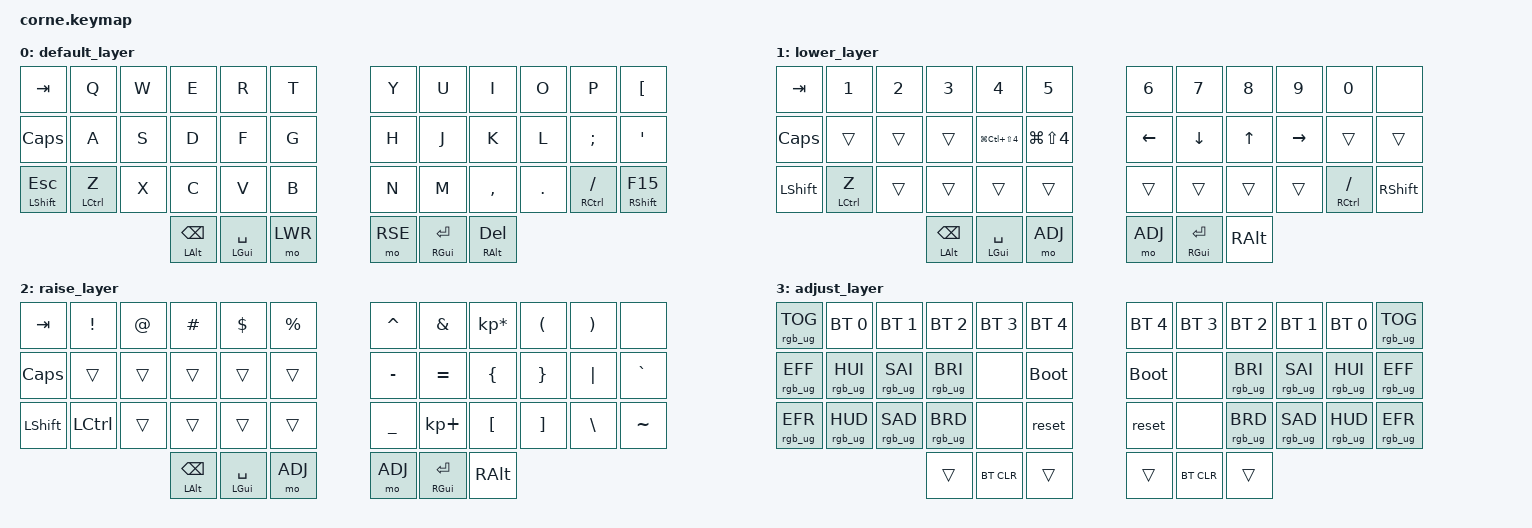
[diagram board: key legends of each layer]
/*
 * Copyright (c) 2020 The ZMK Contributors
 *
 * SPDX-License-Identifier: MIT
 */

#include <behaviors.dtsi>
#include <dt-bindings/zmk/keys.h>
#include <dt-bindings/zmk/bt.h>
#include <dt-bindings/zmk/rgb.h>

#define LWR 1
#define RSE 2
#define ADJ 3

/ {
        keymap {
                compatible = "zmk,keymap";

                default_layer {
// -----------------------------------------------------------------------------------------
// |  TAB |  Q  |  W  |  E  |  R  |  T  |   |  Y  |  U   |  I  |  O  |  P  | [    |
// | CAPS |  A  |  S  |  D  |  F  |  G  |   |  H  |  J   |  K  |  L  |  ;  |  '   |
// | SHFT F16 |  Z  |  X  |  C  |  V  |  B  |   |  N  |  M   |  ,  |  .  |  /  | SHFT F17|
//                    | GUI | SPC | LWR |   | ENT | RSE  | ALT |
                        bindings = <
   &kp TAB   &kp Q       &kp W &kp E &kp R &kp T   &kp Y &kp U  &kp I     &kp O   &kp P    &kp LBKT
   &kp CAPS  &kp A       &kp S &kp D &kp F &kp G   &kp H &kp J  &kp K     &kp L   &kp SEMI &kp SQT
   &mt LSHFT ESC  &mt LCTRL Z &kp X &kp C &kp V &kp B   &kp N &kp M  &kp COMMA &kp DOT &mt RCTRL FSLH &mt RSHFT F15
        &mt LALT BSPC &mt LGUI SPACE &mo LWR     &mo RSE &mt RGUI RET &mt RALT DEL
                        >;
                };
                lower_layer {
// -----------------------------------------------------------------------------------------
// |  TAB |  1  |  2  |  3  |  4        |  5  |   |  6  |  7  |  8  |  9  |  0  |      |
// | CAPS |     |     |     | sreenshot |     |   | LFT | DWN |  UP | RGT |     |      |
// | SHFT |  LCTRL Z |     |     |           |     |   |     |     |     |     |     |      |
//                    | GUI |           | SPC |   | ENT |     | ALT |
                        bindings = <
   &kp TAB  &kp N1       &kp N2      &kp N3    &kp N4                 &kp N5                  &kp N6   &kp N7   &kp N8 &kp N9    &kp N0 &none 
   &kp CAPS   &trans       &trans      &trans    &kp LG(LC(LS(N4)))     &kp LG(LS(N4))          &kp LEFT &kp DOWN &kp UP &kp RIGHT &trans &trans
   &kp LSHFT  &mt LCTRL Z    &trans      &trans    &trans                 &trans                  &trans   &trans   &trans &trans    &mt RCTRL FSLH  &kp RSHFT 
                           &mt LALT BSPC    &mt LGUI SPACE     &mo ADJ                          &mo ADJ  &mt RGUI RET &kp RALT
                        >;
                };

                raise_layer {
// -----------------------------------------------------------------------------------------
// |  TAB |  !  |  @  |  #  |  $  |  %  |   |  ^  |  &  |  *  |  (  |  )  | BKSP |
// | CTRL |     |     |     |     |     |   |  -  |  =  |  {  |  }  | "|" |  `   |
// | SHFT |     |     |     |     |     |   |  _  |  +  |  [  |  ]  |  \ |  ~  | // TODO: Fix this row when &mkp is committed
//                    | GUI |     | SPC |   | ENT |     | ALT |
                        bindings = <
   &kp  TAB  &kp EXCL  &kp AT  &kp HASH  &kp DLLR  &kp PRCNT               &kp CARET  &kp AMPS      &kp KP_MULTIPLY  &kp LPAR    &kp RPAR &none 
   &kp CAPS  &trans    &trans  &trans    &trans    &trans                  &kp MINUS  &kp EQUAL     &kp LBRC         &kp RBRC    &kp PIPE &kp GRAVE
   &kp LSHFT &kp LCTRL &trans  &trans    &trans    &trans                  &kp UNDER  &kp KP_PLUS   &kp LBKT         &kp RBKT    &kp BSLH &kp TILDE
                                   &mt LALT BSPC &mt LGUI SPACE &mo ADJ    &mo ADJ &mt RGUI RET &kp RALT
                        >;
                };

                adjust_layer {
// -----------------------------------------------------------------------------------------------
//       | RGBTOG| BT0 | BT1 | BT2 | BT3  | BT4 |   | BT4 | BT3  | BT2 | BT1 | BT0 | RGBTOG|                          
//       | MOD+  | HUE+| SAT+| VAL+|      | BLDR|   | BLDR|      | VAL+| SAT+| HUE+| MOD+  |
//       | MOD-  | HUE-| SAT-| VAL-|      |     |   |     |      | VAL-| SAT-| HUE-| MOD-  |
//                           |     | BTCLR|     |   |     | BTCLR|     |
                        bindings = <
   &rgb_ug RGB_TOG  &bt BT_SEL 0    &bt BT_SEL 1    &bt BT_SEL 2    &bt BT_SEL 3 &bt BT_SEL 4   &bt BT_SEL 4 &bt BT_SEL 3 &bt BT_SEL 2    &bt BT_SEL 1    &bt BT_SEL 0    &rgb_ug RGB_TOG
   &rgb_ug RGB_EFF  &rgb_ug RGB_HUI &rgb_ug RGB_SAI &rgb_ug RGB_BRI &none        &bootloader    &bootloader  &none        &rgb_ug RGB_BRI &rgb_ug RGB_SAI &rgb_ug RGB_HUI &rgb_ug RGB_EFF
   &rgb_ug RGB_EFR  &rgb_ug RGB_HUD &rgb_ug RGB_SAD &rgb_ug RGB_BRD &none        &reset         &reset       &none        &rgb_ug RGB_BRD &rgb_ug RGB_SAD &rgb_ug RGB_HUD &rgb_ug RGB_EFR
                                                                 &trans &bt BT_CLR &trans         &trans &bt BT_CLR &trans
                        >;
                };
        };
        
};
